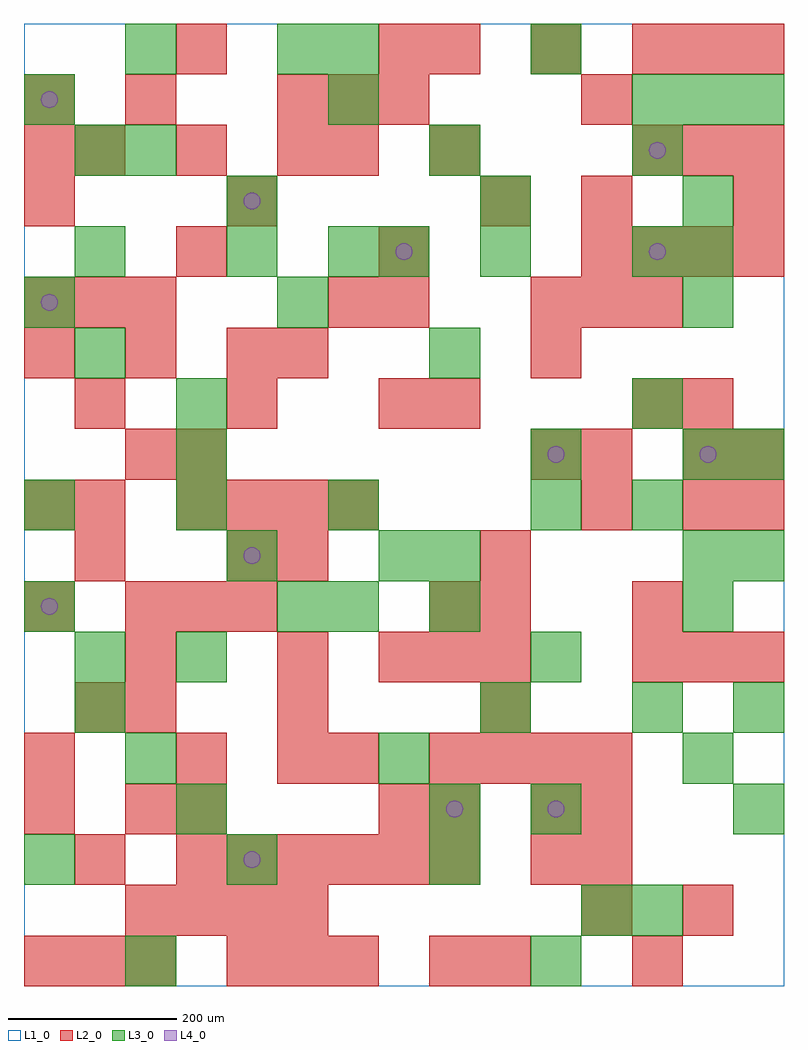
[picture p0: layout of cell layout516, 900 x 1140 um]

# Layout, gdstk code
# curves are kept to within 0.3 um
import gdstk
lib = gdstk.Library(unit=1e-6, precision=1e-09)
def R(c, l, rs):  # rectangles x0, y0, x1, y1
    for r in rs: c.add(gdstk.rectangle(r[:2], r[2:], *l))
def A(c, l, x, y, w, h, nx, ny, dx, dy):  # array of equal rectangles
    R(c, l, [(x+i*dx, y+j*dy, x+i*dx+w, y+j*dy+h) for i in range(nx) for j in range(ny)])
def P(c, l, *ps):  # polygons
    for p in ps: c.add(gdstk.Polygon(p, *l))
L1_0 = (1, 0)
L2_0 = (2, 0)
L3_0 = (3, 0)
L4_0 = (4, 0)

layout516 = lib.new_cell('layout516')
R(layout516, L1_0, [(0,0,900,1140)])
A(layout516, L2_0, 0, 0, 60, 60, 3, 2, 60, 780)
A(layout516, L2_0, 240, 0, 60, 60, 3, 1, 60, 0)
A(layout516, L2_0, 120, 60, 60, 60, 4, 1, 60, 0)
A(layout516, L2_0, 660, 60, 60, 60, 1, 3, 0, 60)
A(layout516, L2_0, 60, 120, 60, 60, 1, 3, 0, 180)
A(layout516, L2_0, 180, 120, 60, 60, 6, 1, 60, 0)
A(layout516, L2_0, 480, 180, 60, 60, 1, 3, 0, 240)
A(layout516, L2_0, 300, 240, 60, 60, 1, 3, 0, 60)
A(layout516, L2_0, 480, 240, 60, 60, 4, 1, 60, 0)
A(layout516, L2_0, 420, 360, 60, 60, 3, 1, 60, 0)
A(layout516, L2_0, 720, 360, 60, 60, 3, 2, 60, 480)
A(layout516, L2_0, 120, 420, 60, 60, 3, 1, 60, 0)
A(layout516, L2_0, 180, 540, 60, 60, 4, 1, 60, 0)
A(layout516, L2_0, 780, 540, 60, 60, 1, 3, 0, 60)
A(layout516, L2_0, 60, 660, 60, 60, 3, 1, 180, 0)
A(layout516, L2_0, 0, 720, 60, 60, 3, 1, 120, 0)
A(layout516, L2_0, 600, 780, 60, 60, 3, 1, 60, 0)
A(layout516, L2_0, 180, 840, 60, 60, 3, 1, 240, 0)
A(layout516, L2_0, 0, 900, 60, 60, 1, 3, 0, 60)
A(layout516, L2_0, 60, 960, 60, 60, 3, 1, 120, 0)
A(layout516, L2_0, 720, 960, 60, 60, 3, 1, 60, 0)
A(layout516, L2_0, 300, 1020, 60, 60, 3, 1, 60, 0)
A(layout516, L2_0, 480, 1080, 60, 60, 3, 1, 120, 0)
R(layout516, L2_0, [(480,0,540,60), (540,0,600,60), (720,0,780,60), (780,60,840,120), (600,120,660,180), (0,180,60,240), (120,180,180,240), (180,180,240,240), (420,180,480,240), (600,180,660,240), (0,240,60,300), (180,240,240,300), (360,240,420,300), (120,300,180,360), (540,300,600,360), (120,360,180,420), (0,420,60,480), (540,420,600,480), (720,420,780,480), (240,480,300,540), (300,480,360,540), (540,480,600,540), (0,540,60,600), (60,540,120,600), (660,540,720,600), (840,540,900,600), (120,600,180,660), (180,600,240,660), (600,600,660,660), (660,600,720,660), (840,600,900,660), (720,660,780,720), (300,720,360,780), (600,720,660,780), (360,780,420,840), (420,780,480,840), (240,900,300,960), (540,900,600,960), (660,900,720,960), (840,900,900,960), (360,960,420,1020), (480,960,540,1020), (120,1020,180,1080), (660,1020,720,1080), (180,1080,240,1140), (420,1080,480,1140), (780,1080,840,1140), (840,1080,900,1140)])
A(layout516, L3_0, 600, 0, 60, 60, 1, 4, 0, 180)
A(layout516, L3_0, 720, 60, 60, 60, 1, 3, 0, 240)
A(layout516, L3_0, 0, 120, 60, 60, 3, 1, 240, 0)
A(layout516, L3_0, 480, 480, 60, 60, 1, 3, 0, 240)
A(layout516, L3_0, 0, 540, 60, 60, 3, 1, 180, 0)
A(layout516, L3_0, 60, 720, 60, 60, 1, 3, 0, 120)
A(layout516, L3_0, 780, 780, 60, 60, 1, 3, 0, 60)
A(layout516, L3_0, 0, 1020, 60, 60, 3, 1, 360, 0)
R(layout516, L3_0, [(120,0,180,60), (660,60,720,120), (180,180,240,240), (480,180,540,240), (840,180,900,240), (120,240,180,300), (420,240,480,300), (780,240,840,300), (60,300,120,360), (540,300,600,360), (840,300,900,360), (60,360,120,420), (180,360,240,420), (0,420,60,480), (300,420,360,480), (360,420,420,480), (480,420,540,480), (780,420,840,480), (240,480,300,540), (420,480,480,540), (780,480,840,540), (840,480,900,540), (180,600,240,660), (600,600,660,660), (780,600,840,660), (840,600,900,660), (180,660,240,720), (720,660,780,720), (0,780,60,840), (300,780,360,840), (240,840,300,900), (360,840,420,900), (420,840,480,900), (540,840,600,900), (720,840,780,900), (240,900,300,960), (540,900,600,960), (120,960,180,1020), (720,960,780,1020), (780,1020,840,1080), (840,1020,900,1080), (120,1080,180,1140), (300,1080,360,1140), (360,1080,420,1140), (600,1080,660,1140)])
P(layout516, L4_0, [(40,450),(39.239,453.827),(37.071,457.071),(33.827,459.239),(30,460),(26.173,459.239),(22.929,457.071),(20.761,453.827),(20,450),(20.761,446.173),(22.929,442.929),(26.173,440.761),(30,440),(33.827,440.761),(37.071,442.929),(39.239,446.173)],
  [(40,810),(39.239,813.827),(37.071,817.071),(33.827,819.239),(30,820),(26.173,819.239),(22.929,817.071),(20.761,813.827),(20,810),(20.761,806.173),(22.929,802.929),(26.173,800.761),(30,800),(33.827,800.761),(37.071,802.929),(39.239,806.173)],
  [(40,1050),(39.239,1053.827),(37.071,1057.071),(33.827,1059.239),(30,1060),(26.173,1059.239),(22.929,1057.071),(20.761,1053.827),(20,1050),(20.761,1046.173),(22.929,1042.929),(26.173,1040.761),(30,1040),(33.827,1040.761),(37.071,1042.929),(39.239,1046.173)],
  [(280,150),(279.239,153.827),(277.071,157.071),(273.827,159.239),(270,160),(266.173,159.239),(262.929,157.071),(260.761,153.827),(260,150),(260.761,146.173),(262.929,142.929),(266.173,140.761),(270,140),(273.827,140.761),(277.071,142.929),(279.239,146.173)],
  [(280,510),(279.239,513.827),(277.071,517.071),(273.827,519.239),(270,520),(266.173,519.239),(262.929,517.071),(260.761,513.827),(260,510),(260.761,506.173),(262.929,502.929),(266.173,500.761),(270,500),(273.827,500.761),(277.071,502.929),(279.239,506.173)],
  [(280,930),(279.239,933.827),(277.071,937.071),(273.827,939.239),(270,940),(266.173,939.239),(262.929,937.071),(260.761,933.827),(260,930),(260.761,926.173),(262.929,922.929),(266.173,920.761),(270,920),(273.827,920.761),(277.071,922.929),(279.239,926.173)],
  [(460,870),(459.239,873.827),(457.071,877.071),(453.827,879.239),(450,880),(446.173,879.239),(442.929,877.071),(440.761,873.827),(440,870),(440.761,866.173),(442.929,862.929),(446.173,860.761),(450,860),(453.827,860.761),(457.071,862.929),(459.239,866.173)],
  [(520,210),(519.239,213.827),(517.071,217.071),(513.827,219.239),(510,220),(506.173,219.239),(502.929,217.071),(500.761,213.827),(500,210),(500.761,206.173),(502.929,202.929),(506.173,200.761),(510,200),(513.827,200.761),(517.071,202.929),(519.239,206.173)],
  [(640,210),(639.239,213.827),(637.071,217.071),(633.827,219.239),(630,220),(626.173,219.239),(622.929,217.071),(620.761,213.827),(620,210),(620.761,206.173),(622.929,202.929),(626.173,200.761),(630,200),(633.827,200.761),(637.071,202.929),(639.239,206.173)],
  [(640,630),(639.239,633.827),(637.071,637.071),(633.827,639.239),(630,640),(626.173,639.239),(622.929,637.071),(620.761,633.827),(620,630),(620.761,626.173),(622.929,622.929),(626.173,620.761),(630,620),(633.827,620.761),(637.071,622.929),(639.239,626.173)],
  [(760,870),(759.239,873.827),(757.071,877.071),(753.827,879.239),(750,880),(746.173,879.239),(742.929,877.071),(740.761,873.827),(740,870),(740.761,866.173),(742.929,862.929),(746.173,860.761),(750,860),(753.827,860.761),(757.071,862.929),(759.239,866.173)],
  [(760,990),(759.239,993.827),(757.071,997.071),(753.827,999.239),(750,1000),(746.173,999.239),(742.929,997.071),(740.761,993.827),(740,990),(740.761,986.173),(742.929,982.929),(746.173,980.761),(750,980),(753.827,980.761),(757.071,982.929),(759.239,986.173)],
  [(820,630),(819.239,633.827),(817.071,637.071),(813.827,639.239),(810,640),(806.173,639.239),(802.929,637.071),(800.761,633.827),(800,630),(800.761,626.173),(802.929,622.929),(806.173,620.761),(810,620),(813.827,620.761),(817.071,622.929),(819.239,626.173)])

lib.write_gds('layout516.gds')
